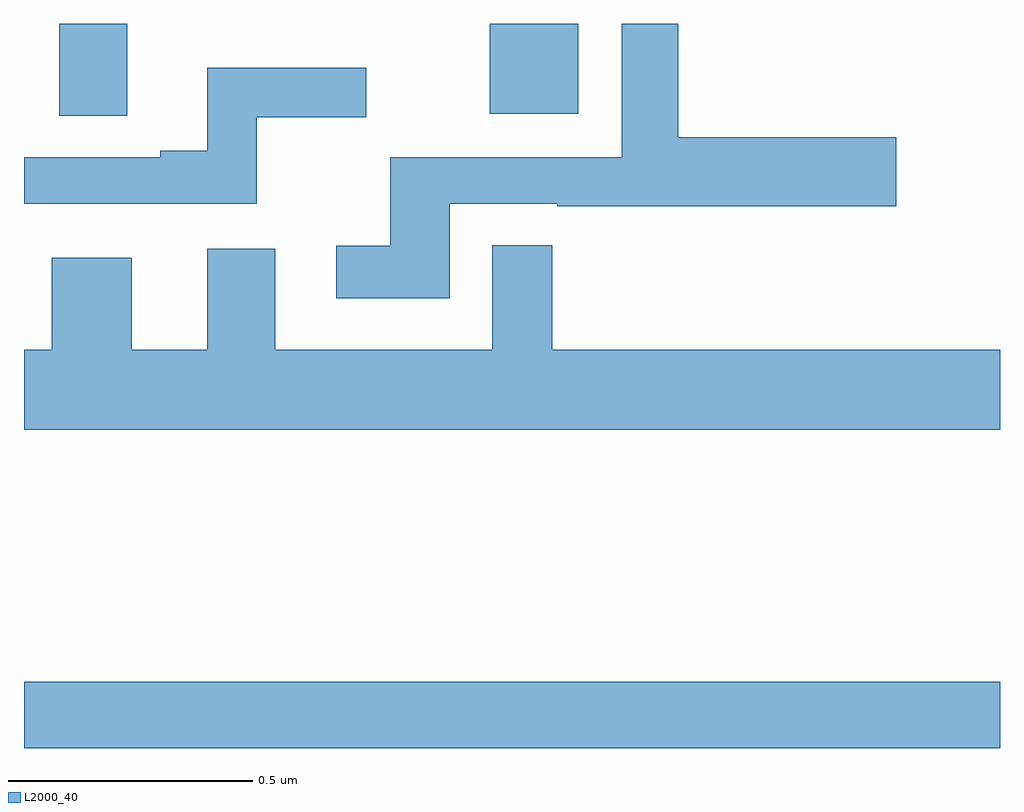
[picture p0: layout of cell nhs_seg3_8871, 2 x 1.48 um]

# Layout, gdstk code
import gdstk
lib = gdstk.Library(unit=1e-6, precision=1e-09)
def R(c, l, rs):  # rectangles x0, y0, x1, y1
    for r in rs: c.add(gdstk.rectangle(r[:2], r[2:], *l))
def P(c, l, *ps):  # polygons
    for p in ps: c.add(gdstk.Polygon(p, *l))
L2000_40 = (2000, 40)

nhs_seg3_8871 = lib.new_cell('nhs_seg3_8871')
R(nhs_seg3_8871, L2000_40, [(221,714.916,223,715.052), (221.072,716.212,221.212,716.4), (221.954,716.216,222.136,716.4)])
P(nhs_seg3_8871, L2000_40, [(221.872,716.031),(222.093,716.031),(222.093,716.026),(222.787,716.026),(222.787,716.168),(222.341,716.168),(222.341,716.4),(222.225,716.4),(222.225,716.127),(221.75,716.127),(221.75,715.945),(221.64,715.945),(221.64,715.838),(221.872,715.838)],
  [(221.477,716.209),(221.701,716.209),(221.701,716.31),(221.375,716.31),(221.375,716.14),(221.279,716.14),(221.279,716.127),(221,716.127),(221,716.031),(221.477,716.031)],
  [(223,715.732),(222.082,715.732),(222.082,715.946),(221.96,715.946),(221.96,715.732),(221.515,715.732),(221.515,715.939),(221.375,715.939),(221.375,715.732),(221.221,715.732),(221.221,715.921),(221.057,715.921),(221.057,715.732),(221,715.732),(221,715.568),(223,715.568)])

lib.write_gds('nhs_seg3_8871.gds')
